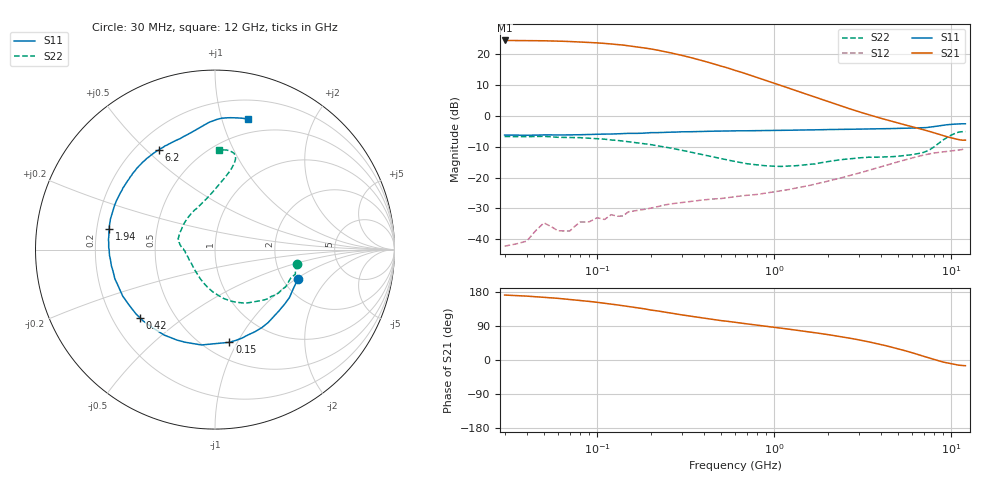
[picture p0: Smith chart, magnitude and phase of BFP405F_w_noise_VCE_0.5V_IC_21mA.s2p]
! Infineon Technologies  Discrete & RF Semiconductors
! BFP405F
! VCE =  0.5 V,  IC =  21 mA
! Common Emitter S-Parameters:  Nov 2015
# GHz  S  MA  R  50
!  f  S11  S21  S12  S22
! GHz  MAG  ANG  MAG  ANG  MAG  ANG  MAG  ANG
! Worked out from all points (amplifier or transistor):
!   239 points, 30 MHz to 12 GHz, reference 50 ohm
!   highest |S21| = 24.5 dB at 30 MHz (marker M1)
!   |S21| within 3 dB of that: start of sweep to 212.2 MHz
!   unconditionally stable (mu >= 1): start of sweep to 91.48 MHz; 402.7 MHz to end of sweep
!   at 300 MHz: K = 0.88, MSG = 23.9 dB, |S12| = -28.1 dB
!   at 1.88 GHz: K = 2.16, MAG = 7.3 dB, |S12| = -21.5 dB
!   at 12 GHz: K = 1.74, MAG = -3.6 dB, |S12| = -10.5 dB
!   lowest NFmin = 2.30 dB at 450 MHz
!   S11 on the Smith chart (normalised r, x): 30 MHz: 2.42, -1.03; 150 MHz: 0.65, -0.93; 420 MHz: 0.32, -0.35; 1.94 GHz: 0.25, +0.09; 6.2 GHz: 0.29, +0.55; 12 GHz: 0.37, +1.21
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0.03  0.4908 -19.2  16.86 171.4  0.0077 70.3  0.465 -9.8
0.04  0.4874 -25.6  16.79 168.6  0.0093 83.2  0.4619 -13.7
0.05  0.4935 -32.9  16.67 165.3  0.0184 75.5  0.4679 -17.0
0.055  0.4926 -35.3  16.56 164.0  0.016 72.7  0.4593 -18.7
0.07  0.4935 -43.7  16.21 159.6  0.0136 71.1  0.4475 -24.0
0.085  0.4993 -51.5  15.81 155.9  0.019 69.8  0.4399 -29.2
0.115  0.5088 -66.4  14.95 148.7  0.0229 65.9  0.4142 -38.3
0.15  0.5226 -81.2  13.82 141.2  0.0278 60.9  0.3824 -48.0
0.2  0.5367 -98.1  12.31 132.0  0.0318 51.3  0.3438 -60.4
0.24  0.5425 -108.1  11.13 126.5  0.0359 47.8  0.3146 -68.5
0.3  0.5541 -120.8  9.664 119.1  0.0394 44.9  0.278 -79.5
0.42  0.5651 -137.8  7.511 109.1  0.0441 42.1  0.2271 -96.0
0.5  0.5695 -145.9  6.47 104.0  0.0457 39.4  0.2027 -105.9
0.6  0.5757 -153.3  5.512 99.2  0.0492 39.3  0.1831 -116.1
0.9  0.5804 -167.8  3.767 88.8  0.0564 41.7  0.1552 -141.2
1.64  0.596 174.0  2.099 73.0  0.0764 46.1  0.1657 -174.7
1.94  0.601 169.0  1.777 68.1  0.0855 46.8  0.1789 178.1
2.72  0.6096 158.2  1.285 56.8  0.1094 46.4  0.2024 169.0
4.5  0.6245 137.4  0.836 35.2  0.1653 39.2  0.2176 150.6
6.2  0.6382 119.3  0.653 17.1  0.214 28.3  0.2397 124.5
10  0.7328 87.2  0.442 -10.1  0.2721 4.0  0.4914 77.4
12  0.7476 75.9  0.406 -15.0  0.297 -2.1  0.5575 87.6
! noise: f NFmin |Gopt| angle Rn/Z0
0.45  2.3  0.01  -63  0.46
0.9  2.31  0.02  -121  0.35
1.5  2.37  0.04  -124  0.41
1.9  2.45  0.05  -124  0.51
2.4  2.59  0.07  -124  0.18
3  2.69  0.08  -122  0.18
3.5  2.77  0.1  -119  0.26
4.5  3.02  0.15  -105  0.51
5.5  3.36  0.26  -88  0.5
